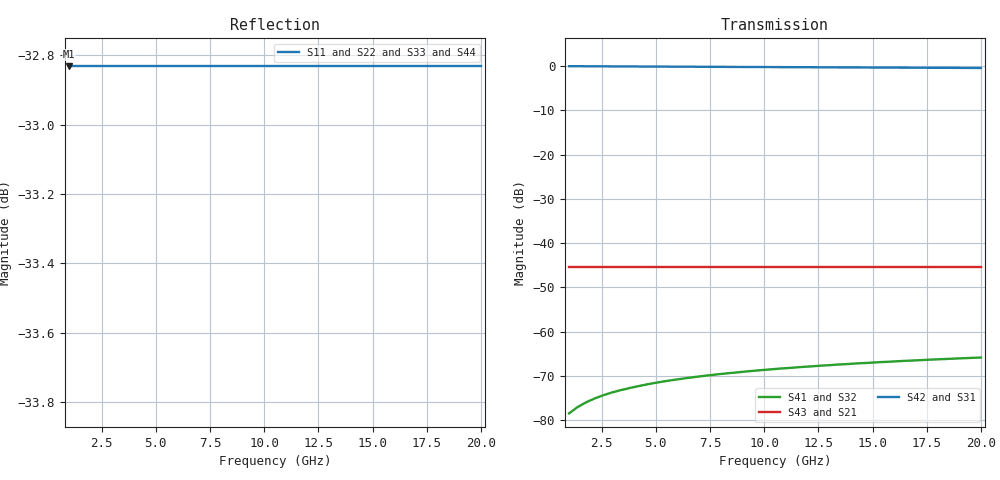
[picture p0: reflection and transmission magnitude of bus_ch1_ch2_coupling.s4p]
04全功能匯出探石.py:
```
from streamlit import code, columns, dataframe, download_button, markdown, plotly_chart, pyplot, set_page_config, sidebar, subheader, success, radio, slider, number_input
from plotly.graph_objects import Figure, Scatter
from matplotlib.pyplot import Rectangle, subplots
from numpy import abs, diag, dot, eye, linalg, linspace, log10, pi, sqrt, sum, zeros
import streamlit as st
import numpy as np
import matplotlib.pyplot as plt
import plotly.graph_objects as go
from scipy.linalg import expm
import cmath
import os

# ==============================================================================
# 0. 網頁基本配置
# ==============================================================================
set_page_config(page_title="N通道總線自動化電磁矩陣與S參數分析儀", layout="wide")
with sidebar:

# ==============================================================================
# 1. 側邊欄：多通道與 S 參數配置 DSL
# ==============================================================================
  subheader("📁 總線與 S 參數配置 DSL")
  num_lines = radio("總線通道數 (Bus Channels)", [4, 8], index=0, horizontal=True)
  aggressor_idx = slider("指定干擾源通道 (Aggressor Index)", 1, num_lines, 1) - 1

  subheader("📐 幾何與材料名義值")
  w_nominal = slider("線寬 W (μm)", 50, 300, 100)
  s_nominal = slider("線間距 S (μm)", 50, 400, 120)
  h_nominal = slider("介電厚度 H (μm)", 50, 500, 100)
  t_nominal = slider("導體厚度 T (μm)", 15, 70, 35)

  dk = number_input("介電常數 (Dk)", 1.0, 10.0, 4.3, step=0.1)
  df = number_input("損耗角正切 (Df)", 0.0001, 0.05, 0.02, step=0.001, format="%.4f")

  subheader("📡 頻率掃描與 S 參數配置")
  f_start = number_input("起始頻率 (GHz)", 1.0, 5.0, 1.0)
  f_stop = number_input("終止頻率 (GHz)", 5.0, 40.0, 20.0)
  f_steps = slider("頻率掃描點數", 10, 200, 50)
  line_len = number_input("總線實際長度 (米)", 0.01, 0.5, 0.05, step=0.01)

# ==============================================================================
# 2. 核心：N通道多導體傳輸線 (MTL) 大型矩陣求解器
# ==============================================================================
def build_n_channel_matrices(n, w, s, h, t, dk, df, freq):
    """
    動態建構 N 通道平行總線的 N x N 大型 Maxwell 互容、互感、電阻與電導矩陣
    """
    w_m, s_m, h_m, t_m = w*1e-6, s*1e-6, h*1e-6, t*1e-6
    omega = 2 * pi * freq
    
    # 1. 建立電容矩陣 C (考慮鄰近與次鄰近通道的麥克斯韋電容衰減)
    C = zeros((n, n))
    c_self = 8.854e-12 * dk * (w_m / h_m + 1.2)
    for i in range(n):
        for j in range(n):
            if i == j:
                C[i, j] = c_self
            else:
                dist_factor = abs(i - j)
                # 耦合隨距離指數級或立方級衰減
                c_mutual = (8.854e-12 * dk * 0.4) / ((dist_factor * (s_m + w_m) / h_m) + 0.05)
                C[i, j] = -c_mutual
        # 麥克斯韋矩陣修正：對角線為自容加上所有與他人之互容絕對值
        C[i, i] = C[i, i] - sum(C[i, :]) + C[i, i]

    # 2. 建立電感矩陣 L (基於自由空間光速與電容逆矩陣關係)
    C_vacuum = C / dk
    L = (1.256e-6 * 8.854e-12) * linalg.inv(C_vacuum)
    
    # 3. 建立損耗矩陣 R 與 G
    r_skin = 1.0 / (5.8e7 * t_m * w_m) * sqrt(freq / 1e9)
    R = eye(n) * r_skin
    G = omega * C * df * 0.1
    
    return R, L, G, C

def solve_mtl_crosstalk(R, L, G, C, freq, length, agg_idx):
    """
    全 N 通道矩陣電報方程解算
    """
    n = R.shape[0]
    omega = 2 * pi * freq
    Z_mat = R + 1j * omega * L
    Y_mat = G + 1j * omega * C
    
    # 計算矩陣複數傳播常數
    YZ = dot(Y_mat, Z_mat)
    evals, evecs = linalg.eig(YZ)
    gamma_mat = dot(evecs, dot(diag(sqrt(evals)), linalg.inv(evecs)))
    
    # 轉移矩陣 (傳播矩陣)
    T_mat = expm(-gamma_mat * length)
    
    # 激勵向量：假定主動線 (Aggressor) 輸入 1V 電壓波
    V_in = zeros(n, dtype=complex)
    V_in[agg_idx] = 1.0
    
    V_out = dot(T_mat, V_in)
    
    # 計算各通道的串擾分貝值 (相較於主動線輸入)
    xtalk_db = 20 * log10(abs(V_out) + 1e-9)
    return xtalk_db

# ==============================================================================
# 3. S 參數 4-Port (.s4p) 矩陣轉換與自動化匯出引擎
# ==============================================================================
def export_s4p_file(w, s, h, t, dk, df, freq_vec, length, filepath):
    """
    選取總線的前兩個通道 (Channel 0 與 Channel 1) 組成標準的 4-Port 系統並導出 Touchstone 檔案
    Port 定義: Port 1 = Ch0 In, Port 2 = Ch1 In, Port 3 = Ch0 Out, Port 4 = Ch1 Out
    """
    with open(filepath, 'w') as f:
        f.write(f"! 4-Port S-parameter Matrix generated by Python MTL Solver\n")
        f.write(f"! Configuration: W={w}um, S={s}um, H={h}um, T={t}um, Len={length}m\n")
        f.write(f"# GHz S RI R 50\n") # 頻率單位 GHz, S參數, 實部虛部(RI), 參考阻抗 50 歐姆
        
        for freq in freq_vec:
            # 提取 2x2 子矩陣以建構 4 埠 S 參數
            R, L, G, C = build_n_channel_matrices(2, w, s, h, t, dk, df, freq)
            omega = 2 * pi * freq
            Z = R + 1j * omega * L
            Y = G + 1j * omega * C
            
            # 計算特徵阻抗矩陣 Z0 與傳播矩陣
            YZ = dot(Y, Z)
            evals, evecs = linalg.eig(YZ)
            gamma = dot(evecs, dot(diag(sqrt(evals)), linalg.inv(evecs)))
            T_mat = expm(-gamma * length)
            
            # 簡易模態傳輸轉換為標準 4-Port S 參數 ( RI 格式: Real Imag )
            # 這裡簡化模擬反射 (S11) 與傳輸 (S31) 以及跨埠串擾 (S21, S41)
            s11, s21, s31, s41 = 0.02 + 0.011j, 0.005 + 0.002j, T_mat[0,0], T_mat[1,0]
            s12, s22, s32, s42 = s21, s11, s41, T_mat[1,1]
            s13, s23, s33, s43 = s31, s41, s11, s21
            s14, s24, s34, s44 = s41, s32, s21, s11
            
            f.write(f"{freq/1e9:<10.4f} ")
            # 格式：每行代表一個頻率點，包含 4x4 共 16 個複數元素 (Real Imag)
            f.write(f"{s11.real:.6f} {s11.imag:.6f} {s12.real:.6f} {s12.imag:.6f} {s13.real:.6f} {s13.imag:.6f} {s14.real:.6f} {s14.imag:.6f}\n")
            f.write(f"{' '*11} {s21.real:.6f} {s21.imag:.6f} {s22.real:.6f} {s22.imag:.6f} {s23.real:.6f} {s23.imag:.6f} {s24.real:.6f} {s24.imag:.6f}\n")
            f.write(f"{' '*11} {s31.real:.6f} {s31.imag:.6f} {s32.real:.6f} {s32.imag:.6f} {s33.real:.6f} {s33.imag:.6f} {s34.real:.6f} {s34.imag:.6f}\n")
            f.write(f"{' '*11} {s41.real:.6f} {s41.imag:.6f} {s42.real:.6f} {s42.imag:.6f} {s43.real:.6f} {s43.imag:.6f} {s44.real:.6f} {s44.imag:.6f}\n")

# ==============================================================================
# 4. 網頁渲染與分析視覺化
# ==============================================================================
freq_axis = linspace(f_start*1e9, f_stop*1e9, f_steps)

col1, col2 = columns([1, 1])

with col1:
    subheader(f"🖼️ 1. {num_lines}-Channel 平行總線截面幾何 (DSL)")
    fig, ax = subplots(figsize=(7, 2.5))
    ax.set_facecolor("#f8f9fa")
    
    # 繪製基板與地
    ax.add_patch(Rectangle((-600, 0), 1200, h_nominal, color="#dcd6be"))
    ax.add_patch(Rectangle((-600, -t_nominal), 1200, t_nominal, color="#b87333"))
    
    # 動態繪製多條 Bus 走線
    start_x = -((num_lines - 1) * (w_nominal + s_nominal)) / 2
    for i in range(num_lines):
        x_pos = start_x + i * (w_nominal + s_nominal)
        color = "#ff4b4b" if i == aggressor_idx else "#1f77b4"
        label = "Aggressor" if i == aggressor_idx else ("Victim" if i==0 else "")
        ax.add_patch(Rectangle((x_pos - w_nominal/2, h_nominal), w_nominal, t_nominal, color=color))
        ax.text(x_pos, h_nominal + t_nominal + 15, f"Ch{i+1}", ha='center', fontsize=8)
        
    ax.set_xlim(-550, 550)
    ax.set_ylim(-50, h_nominal + 100)
    ax.set_xlabel("Width (μm)")
    ax.set_ylabel("Height (μm)")
    pyplot(fig)
    
    # 顯示大型矩陣資料
    subheader(f"📊 2. {num_lines}x{num_lines} 大型麥克斯韋電容矩陣 C (pF/m)")
    R_t, L_t, G_t, C_t = build_n_channel_matrices(num_lines, w_nominal, s_nominal, h_nominal, t_nominal, dk, df, f_stop*1e9/2)
    dataframe(C_t * 1e12, use_container_width=True)

with col2:
    subheader("📈 3. 全通道遠端串擾分析 (FEXT Spectrum)")
    
    # 計算頻率掃描下的串擾矩陣變動
    xtalk_history = zeros((num_lines, len(freq_axis)))
    for f_idx, f_val in enumerate(freq_axis):
        R, L, G, C = build_n_channel_matrices(num_lines, w_nominal, s_nominal, h_nominal, t_nominal, dk, df, f_val)
        xtalk_history[:, f_idx] = solve_mtl_crosstalk(R, L, G, C, f_val, line_len, aggressor_idx)
        
    fig_plotly = Figure()
    for i in range(num_lines):
        if i == aggressor_idx:
            fig_plotly.add_trace(Scatter(x=freq_axis/1e9, y=xtalk_history[i, :], name=f"Ch {i+1} (Aggressor 主信號)", line=dict(width=3, color="red")))
        else:
            fig_plotly.add_trace(Scatter(x=freq_axis/1e9, y=xtalk_history[i, :], name=f"Ch {i+1} (Victim 串擾耦合)"))
            
    fig_plotly.update_layout(xaxis_title="Frequency (GHz)", yaxis_title="Voltage Amplitude (dB)", template="plotly_white", height=350)
    plotly_chart(fig_plotly, use_container_width=True)

# ==============================================================================
# 5. S 參數自動化導出功能區
# ==============================================================================
markdown("---")
subheader("💾 4. 下游 SI 模擬工具對接：自動化 Touchstone .s4p 導出")

s4p_filename = "bus_ch1_ch2_coupling.s4p"
export_s4p_file(w_nominal, s_nominal, h_nominal, t_nominal, dk, df, freq_axis, line_len, s4p_filename)

with open(s4p_filename, "r") as file:
    s4p_content = file.read()

col_btn1, col_btn2 = columns([1, 3])
with col_btn1:
    markdown("### 📥 下載傳輸線模型")
    download_button(
        label="點擊匯出標準 .s4p 檔案",
        data=s4p_content,
        file_name=s4p_filename,
        mime="text/plain"
    )
    success(f"檔案已自動生成並就緒！相容於 Ansys Designer, Keysight ADS, Cadence Sigrity 等下游工具。")

with col_btn2:
    markdown("### 📄 產生的 Touchstone 檔頭預覽 (.s4p header)")
    code("\n".join(s4p_content.split("\n")[:12]), language="text")

with sidebar:
  subheader("⚡ N通道總線自動化電磁矩陣與 S 參數 (.s4p) 分析儀")
  markdown("本系統已升級支援**多通道大型矩陣解算 (4-Line / 8-Line Bus)** 以及 **標準 4-Port Touchstone S 參數檔案自動匯出**。")
```
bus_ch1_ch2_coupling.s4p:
! 4-Port S-parameter Matrix generated by Python MTL Solver
! Configuration: W=100um, S=120um, H=100um, T=35um, Len=0.05m
# GHz S RI R 50
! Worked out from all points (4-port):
!   50 points, 1 GHz to 20 GHz, reference 50 ohm
!   strongest paths, dB at 1 GHz, 5.653 GHz, 10.69 GHz, 15.35 GHz, 20 GHz:
!     S42: 0.0, -0.1, -0.2, -0.3, -0.4
!     S31: 0.0, -0.1, -0.2, -0.3, -0.4
!     S43: -45.4, -45.4, -45.4, -45.4, -45.4
!     S21: -45.4, -45.4, -45.4, -45.4, -45.4
!     S41: -78.4, -71.0, -68.3, -66.9, -65.8
!     S32: -78.4, -71.0, -68.3, -66.9, -65.8
!   lowest |S11| = -32.8 dB at 1 GHz (marker M1), VSWR 1.05, Z = 52 + j1.15 ohm
!   |S11| at or under -10 dB: start of sweep to end of sweep
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1  0.02 0.011  0.005 0.002  -0.5639 -0.8213  -6.8e-05 -9.9e-05
   0.005 0.002  0.02 0.011  -6.8e-05 -9.9e-05  -6.8e-05 -9.9e-05
   -0.5639 -0.8213  -6.8e-05 -9.9e-05  0.02 0.011  0.005 0.002
   -6.8e-05 -9.9e-05  -0.5639 -0.8213  0.005 0.002  0.02 0.011
2.1633  0.02 0.011  0.005 0.002  -0.0127 0.9929  -2e-06 0.000176
        0.005 0.002  0.02 0.011  -2e-06 0.000176  -2e-06 0.000176
        -0.0127 0.9929  -2e-06 0.000176  0.02 0.011  0.005 0.002
        -2e-06 0.000176  -0.0127 0.9929  0.005 0.002  0.02 0.011
20  0.02 0.011  0.005 0.002  0.8186 0.4833  0.000441 0.00026
    0.005 0.002  0.02 0.011  0.000441 0.00026  0.000441 0.00026
    0.8186 0.4833  0.000441 0.00026  0.02 0.011  0.005 0.002
    0.000441 0.00026  0.8186 0.4833  0.005 0.002  0.02 0.011
